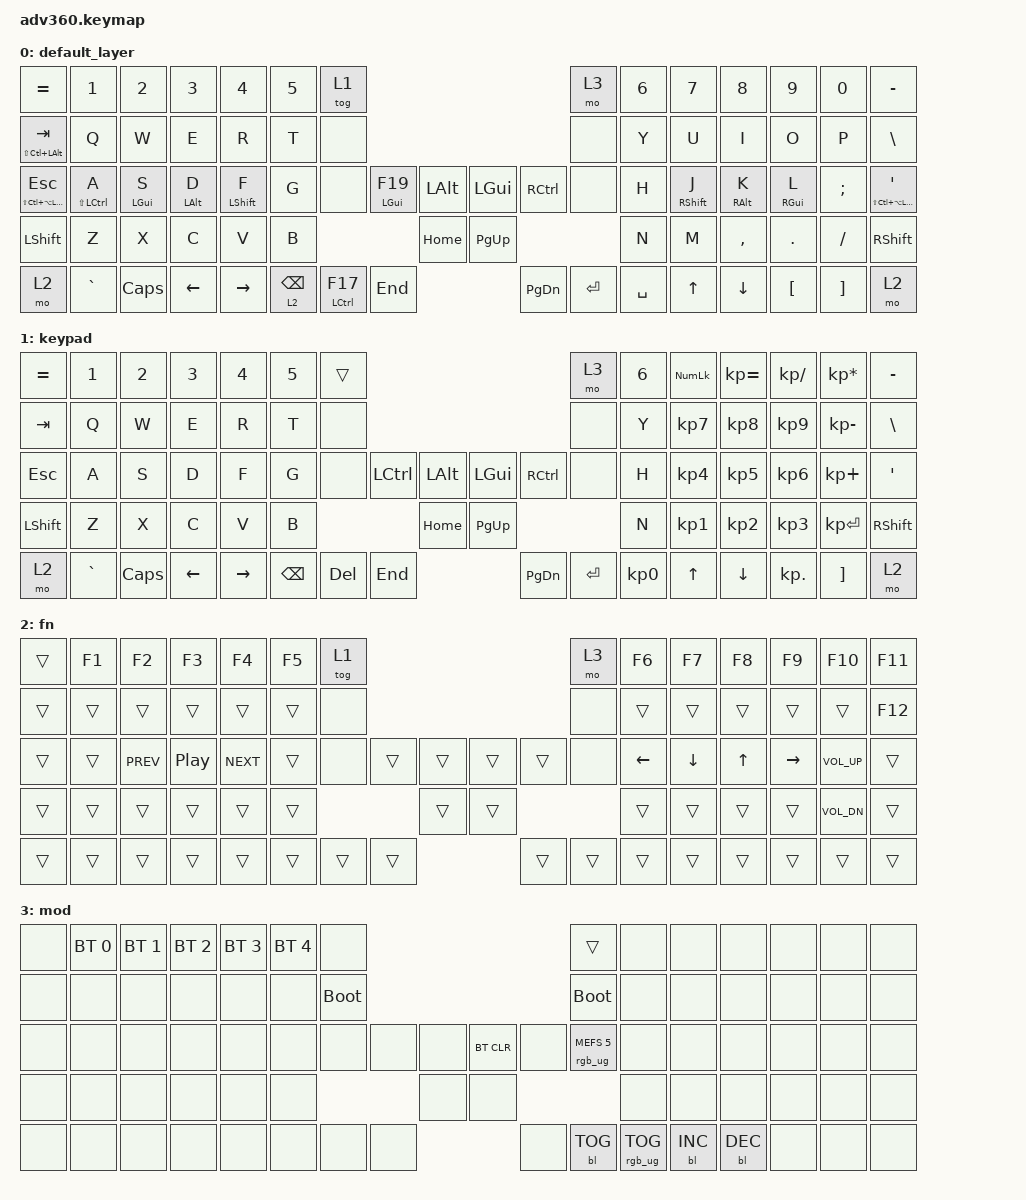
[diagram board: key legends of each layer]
#include <behaviors.dtsi>
#include <dt-bindings/zmk/keys.h>
#include <dt-bindings/zmk/bt.h>
#include <dt-bindings/zmk/rgb.h>
#include <dt-bindings/zmk/backlight.h>

#define HYPER LS(LC(LA(LGUI)))
#define MEH LS(LC(LALT))
#define CSHFT LS(LCTRL)

/ {
    behaviors {
      #include "macros.dtsi"

      hm: homerow_mods {
          compatible = "zmk,behavior-hold-tap";
          label = "HOMEROW_MODS";
          #binding-cells = <2>;
          tapping-term-ms = <200>;
          quick_tap_ms = <175>;
          flavor = "tap-preferred";
          bindings = <&kp>, <&kp>;
      };
    };

  keymap {
    compatible = "zmk,keymap";

    default_layer {
      bindings = <
        &kp EQUAL       &kp N1          &kp N2        &kp N3        &kp N4           &kp N5 &tog 1                                                           &mo 3 &kp N6      &kp N7       &kp N8         &kp N9   &kp N0   &kp MINUS
        &mt MEH TAB     &kp Q           &kp W         &kp E         &kp R            &kp T  &none                                                            &none &kp Y       &kp U        &kp I          &kp O    &kp P    &kp BSLH
        &mt HYPER ESC   &hm CSHFT A     &hm LGUI S    &hm LALT D    &hm LSHFT F      &kp G  &none           &mt LGUI F19      &kp LALT &kp LGUI  &kp RCTRL           &none &kp H  &hm RSHFT J  &hm RALT K     &hm RIGHT_GUI L    &kp SEMI &hm HYPER SQT
        &kp LSHFT       &kp Z           &kp X         &kp C         &kp V            &kp B                                 &kp HOME &kp PG_UP                           &kp N  &kp M  &kp COMMA &kp DOT  &kp FSLH &kp RSHFT
        &mo 2           &kp GRAVE       &kp CAPS      &kp LEFT      &kp RIGHT                      &lt 2 BSPC &mt LCTRL F17  &kp END  &kp PG_DN &kp ENTER &kp SPACE              &kp UP &kp DOWN  &kp LBKT &kp RBKT &mo 2
      >;
    };
    keypad {
      bindings = <
        &kp EQUAL &kp N1    &kp N2   &kp N3   &kp N4     &kp N5 &trans                                                           &mo 3 &kp N6 &kp KP_NUM &kp KP_EQUAL &kp KP_DIVIDE &kp KP_MULTIPLY &kp MINUS
        &kp TAB   &kp Q     &kp W    &kp E    &kp R      &kp T  &none                                                            &none &kp Y  &kp KP_N7  &kp KP_N8    &kp KP_N9     &kp KP_MINUS    &kp BSLH
        &kp ESC   &kp A     &kp S    &kp D    &kp F      &kp G  &none           &kp LCTRL &kp LALT &kp LGUI  &kp RCTRL           &none &kp H  &kp KP_N4  &kp KP_N5    &kp KP_N6     &kp KP_PLUS     &kp SQT
        &kp LSHFT &kp Z     &kp X    &kp C    &kp V      &kp B                            &kp HOME &kp PG_UP                           &kp N  &kp KP_N1  &kp KP_N2    &kp KP_N3     &kp KP_ENTER    &kp RSHFT
        &mo 2     &kp GRAVE &kp CAPS &kp LEFT &kp RIGHT                &kp BSPC &kp DEL   &kp END  &kp PG_DN &kp ENTER &kp KP_N0              &kp UP     &kp DOWN     &kp KP_DOT    &kp RBKT        &mo 2
      >;
    };
    fn {
      bindings = <
        &trans &kp F1 &kp F2     &kp F3           &kp F4     &kp F5  &tog 1                                          &mo 3  &kp F6   &kp F7   &kp F8   &kp F9 &kp F10       &kp F11     
        &trans &trans &trans     &trans           &trans     &trans  &none                                           &none  &trans   &trans   &trans &trans    &trans       &kp F12
        &trans &trans &kp C_PREV &kp C_PLAY_PAUSE &kp C_NEXT &trans  &none        &trans &trans &trans &trans        &none  &kp LEFT &kp DOWN &kp UP &kp RIGHT &kp C_VOL_UP &trans
        &trans &trans &trans     &trans           &trans     &trans                      &trans &trans                      &trans   &trans   &trans &trans    &kp C_VOL_DN &trans
        &trans &trans &trans     &trans           &trans                   &trans &trans &trans &trans &trans &trans                 &trans   &trans &trans    &trans       &trans
      >;
    };
    mod {
      bindings = <
        &none &bt BT_SEL 0 &bt BT_SEL 1 &bt BT_SEL 2 &bt BT_SEL 3 &bt BT_SEL 4 &none                                                                     &trans                 &none        &none        &none        &none &none &none
        &none &none        &none        &none        &none        &none        &bootloader                                                               &bootloader            &none        &none        &none        &none &none &none
        &none &none        &none        &none        &none        &none        &none                   &none &none &bt BT_CLR &none                      &rgb_ug RGB_MEFS_CMD 5 &none        &none        &none        &none &none &none
        &none &none        &none        &none        &none        &none                                      &none &none                                                        &none        &none        &none        &none &none &none
        &none &none        &none        &none        &none                                       &none &none &none &none      &bl BL_TOG &rgb_ug RGB_TOG                                     &bl BL_INC   &bl BL_DEC   &none &none &none
      >;
    };
  };
};
